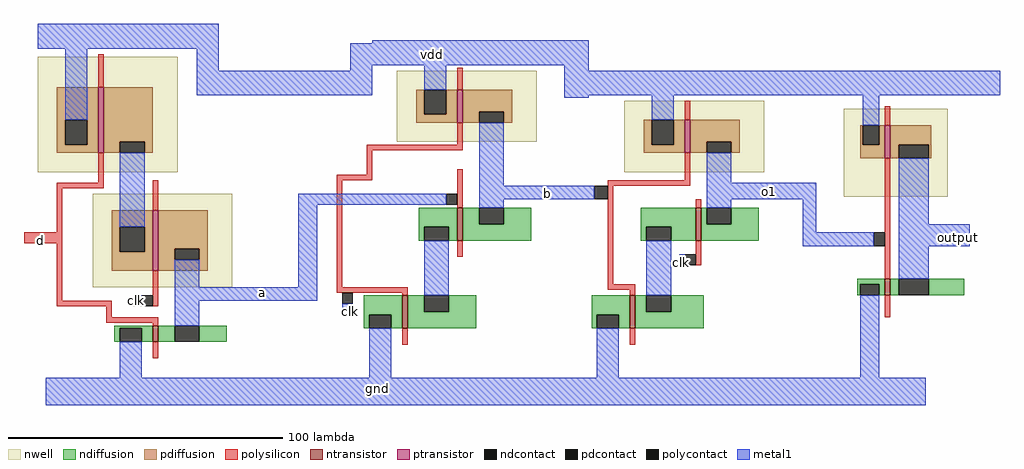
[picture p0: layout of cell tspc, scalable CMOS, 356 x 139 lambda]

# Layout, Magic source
magic
tech scmos
<< nwell >>
rect -32 -5 19 37
rect 99 6 150 32
rect 182 -5 233 21
rect -12 -47 39 -13
rect 262 -14 300 18
<< ntransistor >>
rect 121 -30 123 -18
rect 208 -30 210 -18
rect 277 -50 279 -44
rect 10 -67 12 -61
rect 101 -62 103 -50
rect 184 -62 186 -50
<< ptransistor >>
rect -10 2 -8 26
rect 121 13 123 25
rect 204 2 206 14
rect 10 -41 12 -19
rect 277 0 279 12
<< ndiffusion >>
rect 107 -25 121 -18
rect 107 -30 109 -25
rect 118 -30 121 -25
rect 123 -24 129 -18
rect 138 -24 148 -18
rect 123 -30 148 -24
rect 188 -25 208 -18
rect 188 -30 190 -25
rect 199 -30 208 -25
rect 210 -24 212 -18
rect 221 -24 231 -18
rect 210 -30 231 -24
rect 267 -46 277 -44
rect 267 -50 268 -46
rect 275 -50 277 -46
rect 279 -50 282 -44
rect 293 -50 306 -44
rect 87 -57 101 -50
rect -4 -62 10 -61
rect -4 -67 -2 -62
rect 6 -67 10 -62
rect 12 -67 18 -61
rect 27 -67 37 -61
rect 87 -62 89 -57
rect 97 -62 101 -57
rect 103 -56 109 -50
rect 118 -56 128 -50
rect 103 -62 128 -56
rect 170 -57 184 -50
rect 170 -62 172 -57
rect 180 -62 184 -57
rect 186 -56 190 -50
rect 199 -56 211 -50
rect 186 -62 211 -56
<< pdiffusion >>
rect -25 14 -10 26
rect -25 5 -22 14
rect -14 5 -10 14
rect -25 2 -10 5
rect -8 6 10 26
rect 106 16 109 25
rect 117 16 121 25
rect 106 13 121 16
rect 123 17 141 25
rect 123 13 129 17
rect 138 13 141 17
rect -8 2 -2 6
rect 7 2 10 6
rect 189 5 192 14
rect 200 5 204 14
rect 189 2 204 5
rect 206 6 224 14
rect 206 2 212 6
rect 221 2 224 6
rect 268 5 269 12
rect 275 5 277 12
rect -5 -25 10 -19
rect -5 -34 -2 -25
rect 7 -34 10 -25
rect -5 -41 10 -34
rect 12 -33 30 -19
rect 12 -37 18 -33
rect 27 -37 30 -33
rect 12 -41 30 -37
rect 268 0 277 5
rect 279 5 294 12
rect 279 0 282 5
rect 293 0 294 5
<< ndcontact >>
rect 109 -30 118 -25
rect 129 -24 138 -18
rect 190 -30 199 -25
rect 212 -24 221 -18
rect 268 -50 275 -46
rect 282 -50 293 -44
rect -2 -67 6 -62
rect 18 -67 27 -61
rect 89 -62 97 -57
rect 109 -56 118 -50
rect 172 -62 180 -57
rect 190 -56 199 -50
<< pdcontact >>
rect -22 5 -14 14
rect 109 16 117 25
rect 129 13 138 17
rect -2 2 7 6
rect 192 5 200 14
rect 212 2 221 6
rect 269 5 275 12
rect -2 -34 7 -25
rect 18 -37 27 -33
rect 282 0 293 5
<< polysilicon >>
rect -10 26 -8 38
rect 121 25 123 33
rect 204 14 206 21
rect 121 5 123 13
rect 88 3 123 5
rect -10 -9 -8 2
rect 88 -6 90 3
rect 277 12 279 19
rect 77 -8 90 -6
rect -25 -11 -8 -9
rect -25 -27 -23 -11
rect 10 -19 12 -8
rect -37 -31 -23 -27
rect -25 -52 -23 -31
rect -25 -54 -5 -52
rect 10 -54 12 -41
rect 77 -47 79 -8
rect 121 -18 123 -4
rect 204 -8 206 2
rect 176 -10 206 -8
rect 121 -36 123 -30
rect 176 -46 178 -10
rect 208 -18 210 -15
rect 208 -39 210 -30
rect 277 -44 279 0
rect 77 -49 103 -47
rect 176 -48 186 -46
rect 101 -50 103 -49
rect 184 -50 186 -48
rect -7 -58 -5 -54
rect -7 -60 12 -58
rect 10 -61 12 -60
rect 277 -58 279 -50
rect 10 -73 12 -67
rect 101 -68 103 -62
rect 184 -68 186 -62
<< polycontact >>
rect 6 -54 10 -50
rect 117 -17 121 -13
rect 171 -15 176 -10
rect 204 -39 208 -35
rect 273 -32 277 -27
rect 79 -53 83 -49
<< metal1 >>
rect -32 40 34 49
rect 90 42 169 43
rect -22 14 -14 40
rect 26 32 34 40
rect 82 34 169 42
rect 82 32 90 34
rect 26 23 90 32
rect 109 25 117 34
rect 160 32 169 34
rect 160 23 319 32
rect 160 22 169 23
rect -2 -25 7 2
rect 129 -10 138 13
rect 192 14 200 23
rect 269 12 275 23
rect 212 -9 221 2
rect 63 -17 117 -13
rect 129 -15 171 -10
rect 212 -15 252 -9
rect 18 -47 27 -37
rect 63 -47 70 -17
rect 129 -18 138 -15
rect 212 -18 221 -15
rect 3 -54 6 -50
rect 18 -52 70 -47
rect 18 -61 27 -52
rect 79 -57 83 -53
rect 109 -50 118 -30
rect 190 -50 199 -30
rect 247 -27 252 -15
rect 282 -24 293 0
rect 247 -32 273 -27
rect 282 -32 308 -24
rect 202 -39 204 -35
rect 282 -44 293 -32
rect -2 -80 6 -67
rect 89 -80 97 -62
rect 172 -80 180 -62
rect 268 -80 275 -50
rect -29 -90 292 -80
<< labels >>
rlabel metal1 304 -29 304 -29 1 output
rlabel metal1 92 -84 92 -84 1 gnd
rlabel polysilicon -31 -30 -31 -30 1 d
rlabel metal1 235 -12 235 -12 1 o1
rlabel metal1 50 -49 50 -49 1 a
rlabel metal1 154 -13 154 -13 1 b
rlabel metal1 112 38 112 38 5 vdd
rlabel metal1 4 -52 4 -52 1 clk
rlabel metal1 82 -56 82 -56 1 clk
rlabel metal1 203 -38 203 -38 1 clk
<< end >>
